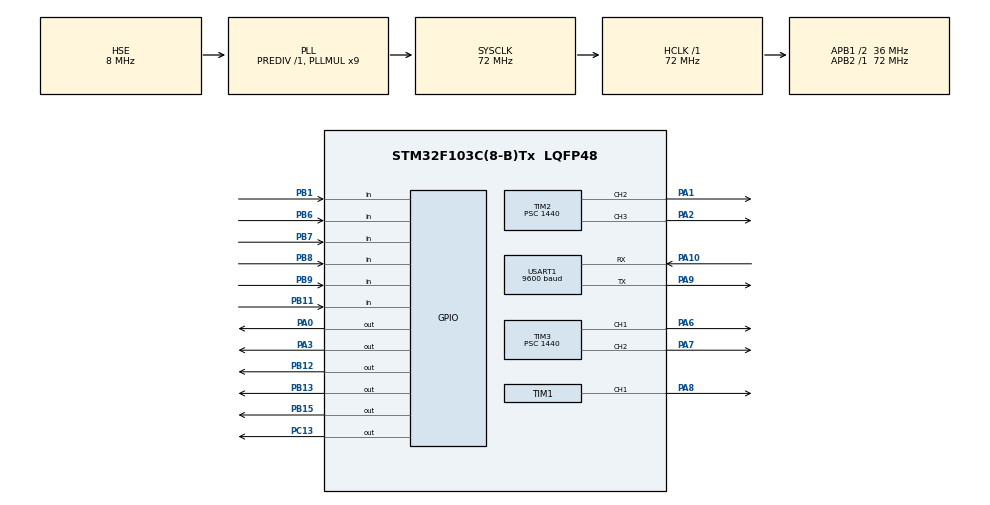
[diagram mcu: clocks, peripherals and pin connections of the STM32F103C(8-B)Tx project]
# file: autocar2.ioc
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Mcu.Family=STM32F1
Mcu.Name=STM32F103C(8-B)Tx
Mcu.Package=LQFP48
NVIC.PriorityGroup=NVIC_PRIORITYGROUP_4
NVIC.TIM1_BRK_IRQn=true\:0\:0\:false\:false\:true\:true\:true\:true
NVIC.TIM1_CC_IRQn=true\:0\:0\:false\:false\:true\:true\:true\:true
NVIC.TIM1_TRG_COM_IRQn=true\:0\:0\:false\:false\:true\:true\:true\:true
NVIC.TIM1_UP_IRQn=true\:0\:0\:false\:false\:true\:true\:true\:true
NVIC.TIM2_IRQn=true\:0\:0\:false\:false\:true\:true\:true\:true
NVIC.TIM3_IRQn=true\:0\:0\:false\:false\:true\:true\:true\:true
NVIC.USART1_IRQn=true\:0\:0\:false\:false\:true\:true\:true\:true
PA0-WKUP.Signal=GPIO_Output
PA1.Signal=S_TIM2_CH2
PA10.Mode=Asynchronous
PA10.Signal=USART1_RX
PA2.Signal=S_TIM2_CH3
PA3.Signal=GPIO_Output
PA6.Signal=S_TIM3_CH1
PA7.Signal=S_TIM3_CH2
PA8.Signal=S_TIM1_CH1
PA9.Mode=Asynchronous
PA9.Signal=USART1_TX
PB1.Signal=GPIO_Input
PB11.Signal=GPIO_Input
PB12.Signal=GPIO_Output
PB13.Signal=GPIO_Output
PB15.Signal=GPIO_Output
PB6.Signal=GPIO_Input
PB7.Signal=GPIO_Input
PB8.Signal=GPIO_Input
PB9.Signal=GPIO_Input
PC13-TAMPER-RTC.Signal=GPIO_Output
PD0-OSC_IN.Mode=HSE-External-Oscillator
PD0-OSC_IN.Signal=RCC_OSC_IN
PD1-OSC_OUT.Mode=HSE-External-Oscillator
PD1-OSC_OUT.Signal=RCC_OSC_OUT
ProjectManager.HeapSize=0x200
ProjectManager.StackSize=0x400
ProjectManager.TargetToolchain=STM32CubeIDE
RCC.AHBFreq_Value=72000000
RCC.APB1CLKDivider=RCC_HCLK_DIV2
RCC.APB1Freq_Value=36000000
RCC.APB1TimFreq_Value=72000000
RCC.APB2Freq_Value=72000000
RCC.APB2TimFreq_Value=72000000
RCC.HCLKFreq_Value=72000000
RCC.PLLMUL=RCC_PLL_MUL9
RCC.PLLSourceVirtual=RCC_PLLSOURCE_HSE
RCC.SYSCLKFreq_VALUE=72000000
RCC.SYSCLKSource=RCC_SYSCLKSOURCE_PLLCLK
RCC.USBFreq_Value=72000000
SH.S_TIM1_CH1.0=TIM1_CH1,PWM Generation1 CH1
SH.S_TIM2_CH2.0=TIM2_CH2,PWM Generation2 CH2
SH.S_TIM2_CH3.0=TIM2_CH3,PWM Generation3 CH3
SH.S_TIM3_CH1.0=TIM3_CH1,PWM Generation1 CH1
SH.S_TIM3_CH2.0=TIM3_CH2,PWM Generation2 CH2
TIM1.AutoReloadPreload=TIM_AUTORELOAD_PRELOAD_ENABLE
TIM1.Channel-PWM\ Generation1\ CH1=TIM_CHANNEL_1
TIM1.Period=1000
TIM1.Prescaler=1440
TIM2.AutoReloadPreload=TIM_AUTORELOAD_PRELOAD_ENABLE
TIM2.Channel-PWM\ Generation2\ CH2=TIM_CHANNEL_2
TIM2.Channel-PWM\ Generation3\ CH3=TIM_CHANNEL_3
TIM2.Period=1000
TIM2.Prescaler=1440
TIM3.AutoReloadPreload=TIM_AUTORELOAD_PRELOAD_ENABLE
TIM3.Channel-PWM\ Generation1\ CH1=TIM_CHANNEL_1
TIM3.Channel-PWM\ Generation2\ CH2=TIM_CHANNEL_2
TIM3.Period=1000
TIM3.Prescaler=1440
USART1.BaudRate=9600
USART1.VirtualMode=VM_ASYNC
VP_TIM1_VS_ClockSourceINT.Mode=Internal
VP_TIM2_VS_ClockSourceINT.Mode=Internal
VP_TIM3_VS_ClockSourceINT.Mode=Internal
board=custom

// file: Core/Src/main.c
/* USER CODE BEGIN Header */
/**
 ******************************************************************************
 * @file           : main.c
 * @brief          : Main program body
 ******************************************************************************
 * @attention
 *
 * Copyright (c) 2022 STMicroelectronics.
 * All rights reserved.
 *
 * This software is licensed under terms that can be found in the LICENSE file
 * in the root directory of this software component.
 * If no LICENSE file comes with this software, it is provided AS-IS.
 *
 ******************************************************************************
 */
/* USER CODE END Header */
#include "main.h"

TIM_HandleTypeDef htim1;
TIM_HandleTypeDef htim2;
TIM_HandleTypeDef htim3;

UART_HandleTypeDef huart1;

/* USER CODE BEGIN PV */
// UART INPUTS
uint8_t user_input[1]; // where the user input will be stored

// UART OUTPUTS
uint8_t boot_message[] = " READY"; //start up message
uint8_t stopSensor_message[] = " sensors stop"; //start up message
uint8_t resumeSensor_message[] = " sensors resumed"; //start up message
uint8_t checkpoint_message[] = " point"; //start up message
uint8_t checkpoint1_message[] = " fir"; //start up message
uint8_t checkpoint2_message[] = " sec"; //start up message
uint8_t error_message[] = " CONFIRM BYTE IS WRONG. reset and try again"; //
uint8_t final_message[] = "";  //" GOOD JOB ROBOT ";

//set up the constants value
float Kp = 2;
//float Ki = 1;
//float Kd = 1.5;

int P, I, D;
//int lastError = 0;
//int errors[10] = { 0, 0, 0, 0, 0, 0, 0, 0, 0, 0 };
//int error_sum = 0;
int autoMode = 0;
int baseMotorSpeed = 37;
int outerSensorError = 80;
int innerSesnorError = 12;

int checkpoint = 0;
int numcheckpoint = 0;
int path = 0;

int timer1;
int timer2;
int timer3;
int timer4;
int stopSensor = 0;
int sensorB9 = 1;
int motorSpeedMultiplier = 10;

int leftTurn = 0;

int tmp1 = 5000;
int tmp2 = 0;

//int last_end = 0;	// 0 -> Left, 1 -> Right
//int last_idle = 0; // how long since last sensor read

/* USER CODE END PV */

void SystemClock_Config(void);
static void MX_GPIO_Init(void);
static void MX_USART1_UART_Init(void);
static void MX_TIM1_Init(void);
static void MX_TIM2_Init(void);
static void MX_TIM3_Init(void);

/* USER CODE BEGIN 0 */

void motorControl(int pos_left, int pos_right) {
	if (pos_left < 0) { // check if negative value. negative value means move in opposite direction
		__HAL_TIM_SET_COMPARE(&htim2, TIM_CHANNEL_2,
				-motorSpeedMultiplier * pos_left); // 10 * input for left motor
		__HAL_TIM_SET_COMPARE(&htim2, TIM_CHANNEL_3, 0);
	} else {
		__HAL_TIM_SET_COMPARE(&htim2, TIM_CHANNEL_2, 0); // 10 * input for left motor
		__HAL_TIM_SET_COMPARE(&htim2, TIM_CHANNEL_3,
				motorSpeedMultiplier * pos_left);
	}

	if (pos_right < 0) { //check if negative value. negative value means move in opposite direction
		__HAL_TIM_SET_COMPARE(&htim3, TIM_CHANNEL_1,
				-motorSpeedMultiplier * pos_right); // 10 * input for right motor
		__HAL_TIM_SET_COMPARE(&htim3, TIM_CHANNEL_2, 0);
	} else {
		__HAL_TIM_SET_COMPARE(&htim3, TIM_CHANNEL_1, 0); // 10 * input for right motor
		__HAL_TIM_SET_COMPARE(&htim3, TIM_CHANNEL_2,
				motorSpeedMultiplier * pos_right);
	}
}

void turnPush() {
	timer3 = HAL_GetTick();
	while (HAL_GetTick() - timer3 < 800) {
		if (HAL_GetTick() - timer3 <= 400) {
			motorControl(0, 85);
		}
		if (HAL_GetTick() - timer3 > 400 && HAL_GetTick() - timer3 <= 800) {
			motorControl(0, -85);
		}
		if (HAL_GetTick() - timer3 > 800) {
			break;
		}

	}
	checkpoint = 4;
}

int sensorRead(void) { // reads the sensors
	int error = 0;

	if (HAL_GPIO_ReadPin(GPIOB, GPIO_PIN_6) == GPIO_PIN_SET
			&& HAL_GPIO_ReadPin(GPIOB, GPIO_PIN_9) == GPIO_PIN_SET
			&& HAL_GPIO_ReadPin(GPIOB, GPIO_PIN_7) == GPIO_PIN_SET
			&& HAL_GPIO_ReadPin(GPIOB, GPIO_PIN_8) == GPIO_PIN_SET) {

		stopSensor = 1;
		timer1 = HAL_GetTick();

		if (checkpoint == 0) { //at the 1st checkpoint go left (90 degree turn after B)
			if (path == 0) {

				while (HAL_GetTick() - timer1 < 325) { //rotate left motor at -40% and right motor at 60%
					motorControl(-35, 50);
				}
				checkpoint = 1;
				stopSensor = 0;
			} else if (path == 1) {
				stopSensor = 1;
				timer1 = HAL_GetTick();
				while (HAL_GetTick() - timer1 < 325) { //rotate left motor at 60% and right motor at -40%
					motorControl(50, -35);
				}
				checkpoint = 3;
				timer4 = HAL_GetTick();
				stopSensor = 0;

			}
		} else if (checkpoint == 1) { //at the 2nd checkpoint go left (45 degree turn after B)

			while (HAL_GetTick() - timer1 < 150) { //rotate left motor at -40% and right motor at 60%
				motorControl(-35, 50);
			}
			checkpoint = 2;
			stopSensor = 0;

		} else if (checkpoint == 2) { //at the 3rd checkpoint go right (90 degree turn after B)

			/*if (path == 1) {
			 while (HAL_GetTick() - timer1 < 350) { //rotate left motor at 60% and right motor at -40%
			 motorControl(60, -40);
			 }
			 } else if (path == 0) {*/
			timer1 = HAL_GetTick();
			while (HAL_GetTick() - timer1 < 125) { //rotate left motor at 60% and right motor at -40%
				motorControl(-35, 55);
			}
//			}
			checkpoint = 3;
			timer4 = HAL_GetTick();
			stopSensor = 0;
			baseMotorSpeed = 80;
		}

	}

	if (HAL_GPIO_ReadPin(GPIOB, GPIO_PIN_6) == GPIO_PIN_SET
			&& stopSensor == 0) {
		if (checkpoint != 4) {
			error += outerSensorError;
		}
	}
	if (HAL_GPIO_ReadPin(GPIOB, GPIO_PIN_7) == GPIO_PIN_SET
			&& stopSensor == 0) {
		error += innerSesnorError;
	}
	if (HAL_GPIO_ReadPin(GPIOB, GPIO_PIN_8) == GPIO_PIN_SET
			&& stopSensor == 0) {
		error += -innerSesnorError;
	}
	if (HAL_GPIO_ReadPin(GPIOB, GPIO_PIN_9) == GPIO_PIN_SET
			&& stopSensor == 0) {

		if (checkpoint == 3 && HAL_GetTick() - timer4 > 3000) {
//			HAL_GPIO_WritePin(GPIOB, GPIO_PIN_15, GPIO_PIN_SET);
			turnPush();

		} else if (checkpoint != 4) {
			error += -outerSensorError;
		}
	}

	return error;
}

/*void pastErrors(int error) { // shifts the values of errors array by one then add the newest error to the first errors value -> errors[0]
 for (int i = 9; i > 0; i--) {
 errors[i] = errors[i - 1];
 }
 errors[0] = error;
 }

 int sumErrors(int num_of_past_errors) { // returns the sum of a custom number of past errors
 int sum = 0;
 for (int i = 0; i < num_of_past_errors; i++) {
 sum += errors[i];
 }
 return sum;
 }*/

void PIDControl(void) {
	int error = sensorRead();
//	pastErrors(error);

	P = error;
//	I = sumErrors(5);
//	D = lastError - error;
//	lastError = error;

//	int motorspeed = P * Kp + I * Ki + D * Kd;
	int motorspeed = P * Kp;
	int motorspeedl = baseMotorSpeed + motorspeed;
	int motorspeedr = baseMotorSpeed - motorspeed;

	if (motorspeedl > 100)
		motorspeedl = 100;
	else if (motorspeedl < -100)
		motorspeed = -100;
	if (motorspeedr > 100)
		motorspeedr = 100;
	else if (motorspeedr < -100)
		motorspeedr = -100;

	motorControl(motorspeedl, motorspeedr);
}

/* USER CODE END 0 */

void HAL_UART_RxCpltCallback(UART_HandleTypeDef *huart1) { // callback for when we receive an input

	int input = (int) user_input[0];

	if (input == 70) {
		motorControl(65, 65);
	} else if (input == 66) {
		motorControl(-65, -65);
	} else if (input == 76) {
		motorControl(-65, 65);
	} else if (input == 82) {
		motorControl(65, -65);
	} else if (input == 71) {
		motorControl(40, 100);
	} else if (input == 73) {
		motorControl(100, 40);
	} else if (input == 72) {
		motorControl(-40, -100);
	} else if (input == 77) {
		motorControl(-40, -100);
	} else if (input == 83) {
		motorControl(0, 0);
	} else if (input == 86) {
		motorControl(-100, 100);
	}

	else
// if not one of the above send error message
		HAL_UART_Transmit_IT(huart1, error_message, sizeof(error_message));

	HAL_UART_Transmit_IT(huart1, user_input, 2);
	HAL_UART_Receive_IT(huart1, user_input, 2);

}

int main(void) {

	/* MCU Configuration--------------------------------------------------------*/

	/* Reset of all peripherals, Initializes the Flash interface and the Systick. */
	HAL_Init();

	/* Configure the system clock */
	SystemClock_Config();

	/* Initialize all configured peripherals */
	MX_GPIO_Init();
	MX_USART1_UART_Init();
	MX_TIM1_Init();
	MX_TIM2_Init();
	MX_TIM3_Init();
	/* USER CODE BEGIN 2 */
//		l293d pins
//	A3 -> enable 1-2
//	A0 -> enable 3-4
//  A2 -> input 1
//	A1 -> input 2
//	A6 -> input 3
//	A7 -> input 4
	HAL_GPIO_WritePin(GPIOA, GPIO_PIN_3, GPIO_PIN_SET); // enable 1-2
	HAL_GPIO_WritePin(GPIOA, GPIO_PIN_0, GPIO_PIN_SET); // enable 3-4

	HAL_TIM_PWM_Start(&htim2, TIM_CHANNEL_2); // Initialise the timer 2 channel 2 for first motor (input 2)
	HAL_TIM_PWM_Start(&htim2, TIM_CHANNEL_3); // Initialise the timer 2 channel 3 for first motor (input 1)

	HAL_TIM_PWM_Start(&htim3, TIM_CHANNEL_1); // Initialise the timer 3 channel 1 for second motor (input 3)
	HAL_TIM_PWM_Start(&htim3, TIM_CHANNEL_2); // Initialise the timer 3 channel 2 for second motor (input 4)

	HAL_TIM_PWM_Start(&htim1, TIM_CHANNEL_1); // Initialise the timer 3 channel 2 for servo motor
	__HAL_TIM_SET_COMPARE(&htim1, TIM_CHANNEL_1, 25); //2.5% (25/1000)*100

	HAL_UART_Transmit_IT(&huart1, boot_message, sizeof(boot_message)); // sends READY on start-up
	HAL_UART_Receive_IT(&huart1, user_input, 2);

	int buttonB1_debounce = 0;
	int buttonB11_debounce = 0;

	/* USER CODE END 2 */

	/* Infinite loop */
	/* USER CODE BEGIN WHILE */
	while (1) {

		if (autoMode == 1) {
			/*if (HAL_GetTick() - timer2 < 3750 && path == 0) {
				motorSpeedMultiplier = 25;
				innerSesnorError = 6;
			} else {
				motorSpeedMultiplier = 10;
				innerSesnorError = 12;
			}*/
			PIDControl();
		}

		if (HAL_GPIO_ReadPin(GPIOB, GPIO_PIN_1) == GPIO_PIN_RESET
				&& buttonB1_debounce == 0) {

			buttonB1_debounce = 1;
		}

		if (HAL_GPIO_ReadPin(GPIOB, GPIO_PIN_1) == GPIO_PIN_SET
				&& buttonB1_debounce == 1) {
			if (autoMode == 1) {
				autoMode = 0;
				motorControl(0, 0);
				checkpoint = 0;
			} else if (autoMode == 0) {
				autoMode = 1;
				timer2 = HAL_GetTick();
//				HAL_GPIO_WritePin(GPIOB, GPIO_PIN_12, GPIO_PIN_SET);
			}
			HAL_GPIO_TogglePin(GPIOB, GPIO_PIN_12);
			buttonB1_debounce = 0;
		}

		if (HAL_GPIO_ReadPin(GPIOB, GPIO_PIN_11) == GPIO_PIN_RESET
				&& buttonB11_debounce == 0) {

			buttonB11_debounce = 1;
		}

		if (HAL_GPIO_ReadPin(GPIOB, GPIO_PIN_11) == GPIO_PIN_SET
				&& buttonB11_debounce == 1) {
			if (path == 0) {
				path = 1;
			} else if (path == 1) {
				path = 0;
			}
			HAL_GPIO_TogglePin(GPIOB, GPIO_PIN_15);
			buttonB11_debounce = 0;
		}

		//blinks the on-board led at 2Hz
		if (HAL_GetTick() - timer1 >= 250) {
			HAL_GPIO_TogglePin(GPIOC, GPIO_PIN_13);
			timer1 = HAL_GetTick();
		}

		/* USER CODE END WHILE */

	}
}

void SystemClock_Config(void) {
	RCC_OscInitTypeDef RCC_OscInitStruct = { 0 };
	RCC_ClkInitTypeDef RCC_ClkInitStruct = { 0 };

	/** Initializes the RCC Oscillators according to the specified parameters
	 * in the RCC_OscInitTypeDef structure.
	 */
	RCC_OscInitStruct.OscillatorType = RCC_OSCILLATORTYPE_HSE;
	RCC_OscInitStruct.HSEState = RCC_HSE_ON;
	RCC_OscInitStruct.HSEPredivValue = RCC_HSE_PREDIV_DIV1;
	RCC_OscInitStruct.HSIState = RCC_HSI_ON;
	RCC_OscInitStruct.PLL.PLLState = RCC_PLL_ON;
	RCC_OscInitStruct.PLL.PLLSource = RCC_PLLSOURCE_HSE;
	RCC_OscInitStruct.PLL.PLLMUL = RCC_PLL_MUL9;
	if (HAL_RCC_OscConfig(&RCC_OscInitStruct) != HAL_OK) {
		Error_Handler();
	}

	/** Initializes the CPU, AHB and APB buses clocks
	 */
	RCC_ClkInitStruct.ClockType = RCC_CLOCKTYPE_HCLK | RCC_CLOCKTYPE_SYSCLK
			| RCC_CLOCKTYPE_PCLK1 | RCC_CLOCKTYPE_PCLK2;
	RCC_ClkInitStruct.SYSCLKSource = RCC_SYSCLKSOURCE_PLLCLK;
	RCC_ClkInitStruct.AHBCLKDivider = RCC_SYSCLK_DIV1;
	RCC_ClkInitStruct.APB1CLKDivider = RCC_HCLK_DIV2;
	RCC_ClkInitStruct.APB2CLKDivider = RCC_HCLK_DIV1;

	if (HAL_RCC_ClockConfig(&RCC_ClkInitStruct, FLASH_LATENCY_2) != HAL_OK) {
		Error_Handler();
	}
}

static void MX_TIM1_Init(void) {

	TIM_ClockConfigTypeDef sClockSourceConfig = { 0 };
	TIM_MasterConfigTypeDef sMasterConfig = { 0 };
	TIM_OC_InitTypeDef sConfigOC = { 0 };
	TIM_BreakDeadTimeConfigTypeDef sBreakDeadTimeConfig = { 0 };

	htim1.Instance = TIM1;
	htim1.Init.Prescaler = 1440;
	htim1.Init.CounterMode = TIM_COUNTERMODE_UP;
	htim1.Init.Period = 1000;
	htim1.Init.ClockDivision = TIM_CLOCKDIVISION_DIV1;
	htim1.Init.RepetitionCounter = 0;
	htim1.Init.AutoReloadPreload = TIM_AUTORELOAD_PRELOAD_ENABLE;
	if (HAL_TIM_Base_Init(&htim1) != HAL_OK) {
		Error_Handler();
	}
	sClockSourceConfig.ClockSource = TIM_CLOCKSOURCE_INTERNAL;
	if (HAL_TIM_ConfigClockSource(&htim1, &sClockSourceConfig) != HAL_OK) {
		Error_Handler();
	}
	if (HAL_TIM_PWM_Init(&htim1) != HAL_OK) {
		Error_Handler();
	}
	sMasterConfig.MasterOutputTrigger = TIM_TRGO_RESET;
	sMasterConfig.MasterSlaveMode = TIM_MASTERSLAVEMODE_DISABLE;
	if (HAL_TIMEx_MasterConfigSynchronization(&htim1, &sMasterConfig)
			!= HAL_OK) {
		Error_Handler();
	}
	sConfigOC.OCMode = TIM_OCMODE_PWM1;
	sConfigOC.Pulse = 0;
	sConfigOC.OCPolarity = TIM_OCPOLARITY_HIGH;
	sConfigOC.OCNPolarity = TIM_OCNPOLARITY_HIGH;
	sConfigOC.OCFastMode = TIM_OCFAST_DISABLE;
	sConfigOC.OCIdleState = TIM_OCIDLESTATE_RESET;
	sConfigOC.OCNIdleState = TIM_OCNIDLESTATE_RESET;
	if (HAL_TIM_PWM_ConfigChannel(&htim1, &sConfigOC, TIM_CHANNEL_1)
			!= HAL_OK) {
		Error_Handler();
	}
	sBreakDeadTimeConfig.OffStateRunMode = TIM_OSSR_DISABLE;
	sBreakDeadTimeConfig.OffStateIDLEMode = TIM_OSSI_DISABLE;
	sBreakDeadTimeConfig.LockLevel = TIM_LOCKLEVEL_OFF;
	sBreakDeadTimeConfig.DeadTime = 0;
	sBreakDeadTimeConfig.BreakState = TIM_BREAK_DISABLE;
	sBreakDeadTimeConfig.BreakPolarity = TIM_BREAKPOLARITY_HIGH;
	sBreakDeadTimeConfig.AutomaticOutput = TIM_AUTOMATICOUTPUT_DISABLE;
	if (HAL_TIMEx_ConfigBreakDeadTime(&htim1, &sBreakDeadTimeConfig)
			!= HAL_OK) {
		Error_Handler();
	}
	HAL_TIM_MspPostInit(&htim1);

}

static void MX_TIM2_Init(void) {

	TIM_ClockConfigTypeDef sClockSourceConfig = { 0 };
	TIM_MasterConfigTypeDef sMasterConfig = { 0 };
	TIM_OC_InitTypeDef sConfigOC = { 0 };

	htim2.Instance = TIM2;
	htim2.Init.Prescaler = 1440;
	htim2.Init.CounterMode = TIM_COUNTERMODE_UP;
	htim2.Init.Period = 1000;
	htim2.Init.ClockDivision = TIM_CLOCKDIVISION_DIV1;
	htim2.Init.AutoReloadPreload = TIM_AUTORELOAD_PRELOAD_ENABLE;
	if (HAL_TIM_Base_Init(&htim2) != HAL_OK) {
		Error_Handler();
	}
	sClockSourceConfig.ClockSource = TIM_CLOCKSOURCE_INTERNAL;
	if (HAL_TIM_ConfigClockSource(&htim2, &sClockSourceConfig) != HAL_OK) {
		Error_Handler();
	}
	if (HAL_TIM_PWM_Init(&htim2) != HAL_OK) {
		Error_Handler();
	}
	sMasterConfig.MasterOutputTrigger = TIM_TRGO_RESET;
	sMasterConfig.MasterSlaveMode = TIM_MASTERSLAVEMODE_DISABLE;
	if (HAL_TIMEx_MasterConfigSynchronization(&htim2, &sMasterConfig)
			!= HAL_OK) {
		Error_Handler();
	}
	sConfigOC.OCMode = TIM_OCMODE_PWM1;
	sConfigOC.Pulse = 0;
	sConfigOC.OCPolarity = TIM_OCPOLARITY_HIGH;
	sConfigOC.OCFastMode = TIM_OCFAST_DISABLE;
	if (HAL_TIM_PWM_ConfigChannel(&htim2, &sConfigOC, TIM_CHANNEL_2)
			!= HAL_OK) {
		Error_Handler();
	}
	if (HAL_TIM_PWM_ConfigChannel(&htim2, &sConfigOC, TIM_CHANNEL_3)
			!= HAL_OK) {
		Error_Handler();
	}
	HAL_TIM_MspPostInit(&htim2);

}

static void MX_TIM3_Init(void) {

	TIM_ClockConfigTypeDef sClockSourceConfig = { 0 };
	TIM_MasterConfigTypeDef sMasterConfig = { 0 };
	TIM_OC_InitTypeDef sConfigOC = { 0 };

	htim3.Instance = TIM3;
	htim3.Init.Prescaler = 1440;
	htim3.Init.CounterMode = TIM_COUNTERMODE_UP;
	htim3.Init.Period = 1000;
	htim3.Init.ClockDivision = TIM_CLOCKDIVISION_DIV1;
	htim3.Init.AutoReloadPreload = TIM_AUTORELOAD_PRELOAD_ENABLE;
	if (HAL_TIM_Base_Init(&htim3) != HAL_OK) {
		Error_Handler();
	}
	sClockSourceConfig.ClockSource = TIM_CLOCKSOURCE_INTERNAL;
	if (HAL_TIM_ConfigClockSource(&htim3, &sClockSourceConfig) != HAL_OK) {
		Error_Handler();
	}
	if (HAL_TIM_PWM_Init(&htim3) != HAL_OK) {
		Error_Handler();
	}
	sMasterConfig.MasterOutputTrigger = TIM_TRGO_RESET;
	sMasterConfig.MasterSlaveMode = TIM_MASTERSLAVEMODE_DISABLE;
	if (HAL_TIMEx_MasterConfigSynchronization(&htim3, &sMasterConfig)
			!= HAL_OK) {
		Error_Handler();
	}
	sConfigOC.OCMode = TIM_OCMODE_PWM1;
	sConfigOC.Pulse = 0;
	sConfigOC.OCPolarity = TIM_OCPOLARITY_HIGH;
	sConfigOC.OCFastMode = TIM_OCFAST_DISABLE;
	if (HAL_TIM_PWM_ConfigChannel(&htim3, &sConfigOC, TIM_CHANNEL_1)
			!= HAL_OK) {
		Error_Handler();
	}
	if (HAL_TIM_PWM_ConfigChannel(&htim3, &sConfigOC, TIM_CHANNEL_2)
			!= HAL_OK) {
		Error_Handler();
	}
	HAL_TIM_MspPostInit(&htim3);

}

static void MX_USART1_UART_Init(void) {

	huart1.Instance = USART1;
	huart1.Init.BaudRate = 9600;
	huart1.Init.WordLength = UART_WORDLENGTH_8B;
	huart1.Init.StopBits = UART_STOPBITS_1;
	huart1.Init.Parity = UART_PARITY_NONE;
	huart1.Init.Mode = UART_MODE_TX_RX;
	huart1.Init.HwFlowCtl = UART_HWCONTROL_NONE;
	huart1.Init.OverSampling = UART_OVERSAMPLING_16;
	if (HAL_UART_Init(&huart1) != HAL_OK) {
		Error_Handler();
	}

}

static void MX_GPIO_Init(void) {
	GPIO_InitTypeDef GPIO_InitStruct = { 0 };

	/* GPIO Ports Clock Enable */
	__HAL_RCC_GPIOC_CLK_ENABLE();
	__HAL_RCC_GPIOD_CLK_ENABLE();
	__HAL_RCC_GPIOA_CLK_ENABLE();
	__HAL_RCC_GPIOB_CLK_ENABLE();

	/*Configure GPIO pin Output Level */
	HAL_GPIO_WritePin(GPIOC, GPIO_PIN_13, GPIO_PIN_RESET);

	/*Configure GPIO pin Output Level */
	HAL_GPIO_WritePin(GPIOA, GPIO_PIN_0 | GPIO_PIN_3, GPIO_PIN_RESET);

	/*Configure GPIO pin Output Level */
	HAL_GPIO_WritePin(GPIOB, GPIO_PIN_12 | GPIO_PIN_13 | GPIO_PIN_15,
			GPIO_PIN_RESET);

	/*Configure GPIO pin : PC13 */
	GPIO_InitStruct.Pin = GPIO_PIN_13;
	GPIO_InitStruct.Mode = GPIO_MODE_OUTPUT_PP;
	GPIO_InitStruct.Pull = GPIO_NOPULL;
	GPIO_InitStruct.Speed = GPIO_SPEED_FREQ_LOW;
	HAL_GPIO_Init(GPIOC, &GPIO_InitStruct);

	/*Configure GPIO pins : PA0 PA3 */
	GPIO_InitStruct.Pin = GPIO_PIN_0 | GPIO_PIN_3;
	GPIO_InitStruct.Mode = GPIO_MODE_OUTPUT_PP;
	GPIO_InitStruct.Pull = GPIO_NOPULL;
	GPIO_InitStruct.Speed = GPIO_SPEED_FREQ_LOW;
	HAL_GPIO_Init(GPIOA, &GPIO_InitStruct);

	/*Configure GPIO pins : PB1 PB11 PB6 PB7
	 PB8 PB9 */
	GPIO_InitStruct.Pin = GPIO_PIN_1 | GPIO_PIN_11 | GPIO_PIN_6 | GPIO_PIN_7
			| GPIO_PIN_8 | GPIO_PIN_9;
	GPIO_InitStruct.Mode = GPIO_MODE_INPUT;
	GPIO_InitStruct.Pull = GPIO_NOPULL;
	HAL_GPIO_Init(GPIOB, &GPIO_InitStruct);

	/*Configure GPIO pins : PB12 PB13 PB15 */
	GPIO_InitStruct.Pin = GPIO_PIN_12 | GPIO_PIN_13 | GPIO_PIN_15;
	GPIO_InitStruct.Mode = GPIO_MODE_OUTPUT_PP;
	GPIO_InitStruct.Pull = GPIO_NOPULL;
	GPIO_InitStruct.Speed = GPIO_SPEED_FREQ_LOW;
	HAL_GPIO_Init(GPIOB, &GPIO_InitStruct);

}

void Error_Handler(void) {
	__disable_irq();
	while (1) {
	}
}
